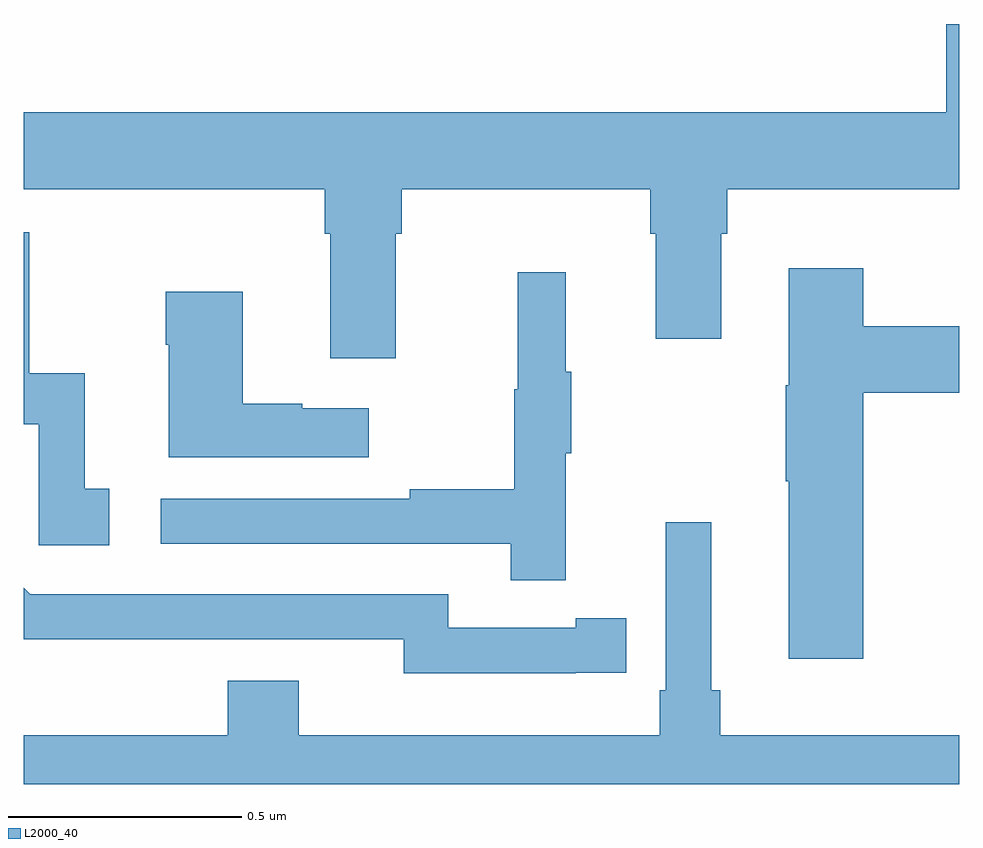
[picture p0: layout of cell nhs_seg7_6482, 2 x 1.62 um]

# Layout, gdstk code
import gdstk
lib = gdstk.Library(unit=1e-6, precision=1e-09)
def P(c, l, *ps):  # polygons
    for p in ps: c.add(gdstk.Polygon(p, *l))
L2000_40 = (2000, 40)

nhs_seg7_6482 = lib.new_cell('nhs_seg7_6482')
P(nhs_seg7_6482, L2000_40, [(199.795,1011.176),(199.808,1011.176),(199.808,1011.272),(200.339,1011.272),(200.339,1011.176),(200.351,1011.176),(200.351,1010.952),(200.491,1010.952),(200.491,1011.176),(200.504,1011.176),(200.504,1011.272),(201,1011.272),(201,1011.625),(200.972,1011.625),(200.972,1011.436),(199,1011.436),(199,1011.272),(199.643,1011.272),(199.643,1011.176),(199.655,1011.176),(199.655,1010.91),(199.795,1010.91)],
  [(199.183,1010.631),(199.13,1010.631),(199.13,1010.878),(199.012,1010.878),(199.012,1011.18),(199,1011.18),(199,1010.769),(199.032,1010.769),(199.032,1010.511),(199.183,1010.511)],
  [(200.795,1010.837),(201,1010.837),(201,1010.979),(200.795,1010.979),(200.795,1011.103),(200.636,1011.103),(200.636,1010.853),(200.629,1010.853),(200.629,1010.647),(200.636,1010.647),(200.636,1010.268),(200.795,1010.268)],
  [(200.159,1010.707),(200.17,1010.707),(200.17,1010.881),(200.159,1010.881),(200.159,1011.094),(200.056,1011.094),(200.056,1010.844),(200.049,1010.844),(200.049,1010.63),(199.825,1010.63),(199.825,1010.61),(199.293,1010.61),(199.293,1010.514),(200.041,1010.514),(200.041,1010.436),(200.159,1010.436)],
  [(199.738,1010.803),(199.595,1010.803),(199.595,1010.813),(199.468,1010.813),(199.468,1011.052),(199.303,1011.052),(199.303,1010.939),(199.31,1010.939),(199.31,1010.699),(199.738,1010.699)],
  [(201,1010.104),(200.489,1010.104),(200.489,1010.2),(200.47,1010.2),(200.47,1010.56),(200.373,1010.56),(200.373,1010.2),(200.36,1010.2),(200.36,1010.104),(199.588,1010.104),(199.588,1010.221),(199.436,1010.221),(199.436,1010.104),(199,1010.104),(199,1010),(201,1010)],
  [(200.18,1010.238),(200.288,1010.238),(200.288,1010.354),(200.18,1010.354),(200.18,1010.334),(199.908,1010.334),(199.908,1010.406),(199.014,1010.406),(199,1010.42),(199,1010.309),(199.352,1010.309),(199.352,1010.31),(199.812,1010.31),(199.812,1010.237),(200.18,1010.237)])

lib.write_gds('nhs_seg7_6482.gds')
